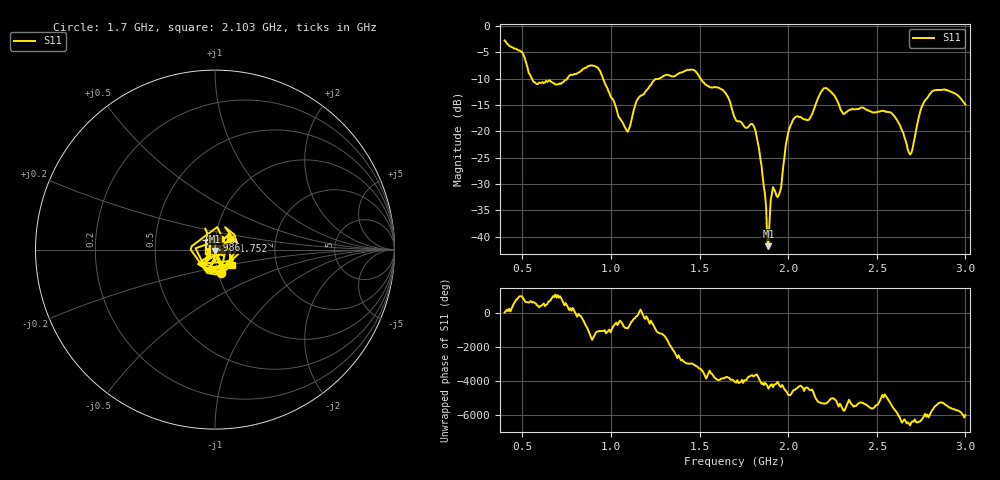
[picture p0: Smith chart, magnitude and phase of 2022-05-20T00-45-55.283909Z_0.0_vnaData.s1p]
!Created with skrf (http://scikit-rf.org).
# Hz S RI R 50.0
!freq ReS11 ImS11
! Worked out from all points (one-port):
!   401 points, 400 MHz to 3 GHz, reference 50 ohm
!   lowest |S11| = -41.8 dB at 1.889 GHz (marker M1), VSWR 1.02, Z = 49.7 - j0.772 ohm
!   |S11| at or under -10 dB: 553.8 MHz to 753.7 MHz (199.9 MHz wide, 30.6 % of centre); 955.2 MHz to 1.272 GHz (316.9 MHz wide, 28.5 % of centre); 1.505 GHz to end of sweep
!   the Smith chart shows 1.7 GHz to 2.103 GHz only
!   S11 on the Smith chart (normalised r, x): 1.7 GHz: 1.03, -0.27; 1.752 GHz: 1.21, +0.12; 1.986 GHz: 0.90, +0.10; 2.103 GHz: 1.19, -0.21
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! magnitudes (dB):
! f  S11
! 400 MHz  -2.8
! 497.5 MHz  -5.0
! 575.5 MHz  -10.9
! 725 MHz  -10.7
! 913.5 MHz  -7.7
! 1.05 GHz  -17.5
! 1.095 GHz  -20.1
! 1.154 GHz  -13.8
! 1.238 GHz  -10.5
! 1.375 GHz  -9.2
! 1.622 GHz  -12.0
! 1.7 GHz  -17.5
! 1.752 GHz  -19.0
! 1.817 GHz  -20.1
! 1.889 GHz  -41.8
! 1.915 GHz  -30.6
! 1.954 GHz  -31.5
! 1.986 GHz  -22.7
! 2.025 GHz  -18.0
! 2.103 GHz  -17.9
! 2.207 GHz  -11.8
! 2.35 GHz  -15.9
! 2.584 GHz  -16.6
! 2.675 GHz  -23.5
! 2.695 GHz  -24.1
! 2.753 GHz  -15.4
! 2.812 GHz  -12.4
! 3 GHz  -14.9
